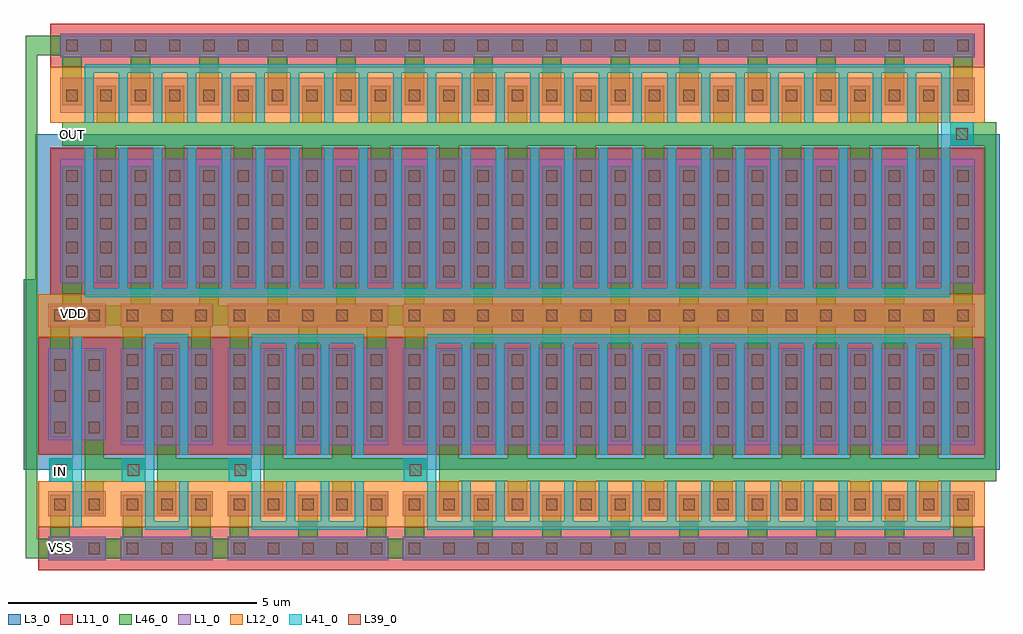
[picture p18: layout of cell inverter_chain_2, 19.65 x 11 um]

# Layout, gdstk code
import gdstk
lib = gdstk.Library(unit=1e-6, precision=1e-09)
def R(c, l, rs):  # rectangles x0, y0, x1, y1
    for r in rs: c.add(gdstk.rectangle(r[:2], r[2:], *l))
def A(c, l, x, y, w, h, nx, ny, dx, dy):  # array of equal rectangles
    R(c, l, [(x+i*dx, y+j*dy, x+i*dx+w, y+j*dy+h) for i in range(nx) for j in range(ny)])
L1_0 = (1, 0)
L3_0 = (3, 0)
L11_0 = (11, 0)
L12_0 = (12, 0)
L39_0 = (39, 0)
L41_0 = (41, 0)
L46_0 = (46, 0)

inverter_chain_2 = lib.new_cell('inverter_chain_2')
A(inverter_chain_2, L1_0, 4.425, 1.25, 1.85, 0.47, 8, 2, 1.38, 4.69)
A(inverter_chain_2, L1_0, 4.425, 2.14, 1.85, 0.5, 8, 1, 1.38, 0)
A(inverter_chain_2, L1_0, 4.425, 3.57, 1.85, 1.95, 8, 1, 1.38, 0)
A(inverter_chain_2, L1_0, -2.475, 6.83, 1.85, 2.5, 13, 1, 1.38, 0)
A(inverter_chain_2, L1_0, -2.475, 10.26, 1.85, 0.7, 13, 1, 1.38, 0)
A(inverter_chain_2, L1_0, -2.475, 11.38, 1.85, 0.47, 13, 1, 1.38, 0)
R(inverter_chain_2, L1_0, [(-2.715,1.25,-1.555,1.72), (-1.255,1.25,0.595,1.72), (0.895,1.25,2.745,1.72), (2.275,1.25,4.125,1.72), (-2.715,2.14,-1.555,2.64), (-1.255,2.14,0.595,2.64), (0.895,2.14,2.745,2.64), (2.275,2.14,4.125,2.64), (-1.255,3.57,0.595,5.52), (0.895,3.57,2.745,5.52), (2.275,3.57,4.125,5.52), (-2.715,3.67,-1.555,5.52), (-2.715,5.94,-1.555,6.41), (-1.255,5.94,0.595,6.41), (0.895,5.94,2.745,6.41), (2.275,5.94,4.125,6.41)])
A(inverter_chain_2, L3_0, 3.925, 3.07, 2.85, 3.84, 8, 1, 1.38, 0)
A(inverter_chain_2, L3_0, -2.975, 5.44, 2.85, 4.39, 13, 1, 1.38, 0)
R(inverter_chain_2, L3_0, [(-3.215,3.07,-1.055,6.91), (-1.755,3.07,1.095,6.91), (0.395,3.07,3.245,6.91), (1.775,3.07,4.625,6.91)])
A(inverter_chain_2, L11_0, 4.225, 1.05, 2.25, 0.87, 8, 1, 1.38, 0)
A(inverter_chain_2, L11_0, 4.225, 3.37, 2.25, 2.37, 8, 1, 1.38, 0)
A(inverter_chain_2, L11_0, -2.675, 6.61, 2.25, 2.94, 13, 1, 1.38, 0)
A(inverter_chain_2, L11_0, -2.675, 11.18, 2.25, 0.87, 13, 1, 1.38, 0)
R(inverter_chain_2, L11_0, [(-2.915,1.05,-1.355,1.92), (-1.455,1.05,0.795,1.92), (0.695,1.05,2.945,1.92), (2.075,1.05,4.325,1.92), (-2.915,3.37,-1.355,5.74), (-1.455,3.37,0.795,5.74), (0.695,3.37,2.945,5.74), (2.075,3.37,4.325,5.74)])
A(inverter_chain_2, L12_0, 4.225, 1.92, 2.25, 0.92, 8, 1, 1.38, 0)
A(inverter_chain_2, L12_0, 4.225, 5.74, 2.25, 0.87, 8, 1, 1.38, 0)
A(inverter_chain_2, L12_0, -2.675, 10.06, 2.25, 1.12, 13, 1, 1.38, 0)
R(inverter_chain_2, L12_0, [(-2.915,1.92,-1.355,2.84), (-1.455,1.92,0.795,2.84), (0.695,1.92,2.945,2.84), (2.075,1.92,4.325,2.84), (-2.915,5.74,-1.355,6.61), (-1.455,5.74,0.795,6.61), (0.695,5.74,2.945,6.61), (2.075,5.74,4.325,6.61)])
A(inverter_chain_2, L39_0, -1.135, 1.37, 0.23, 0.23, 3, 2, 0.69, 0.89)
A(inverter_chain_2, L39_0, 1.015, 1.37, 0.23, 0.23, 3, 2, 0.69, 0.89)
A(inverter_chain_2, L39_0, 2.395, 1.37, 0.23, 0.23, 3, 2, 0.69, 0.89)
A(inverter_chain_2, L39_0, 4.545, 1.37, 0.23, 0.23, 3, 2, 0.69, 0.89)
A(inverter_chain_2, L39_0, 5.925, 1.37, 0.23, 0.23, 3, 2, 0.69, 0.89)
A(inverter_chain_2, L39_0, 7.305, 1.37, 0.23, 0.23, 3, 2, 0.69, 0.89)
A(inverter_chain_2, L39_0, 8.685, 1.37, 0.23, 0.23, 3, 2, 0.69, 0.89)
A(inverter_chain_2, L39_0, 10.065, 1.37, 0.23, 0.23, 3, 2, 0.69, 0.89)
A(inverter_chain_2, L39_0, 11.445, 1.37, 0.23, 0.23, 3, 2, 0.69, 0.89)
A(inverter_chain_2, L39_0, 12.825, 1.37, 0.23, 0.23, 3, 2, 0.69, 0.89)
A(inverter_chain_2, L39_0, 14.205, 1.37, 0.23, 0.23, 3, 2, 0.69, 0.89)
A(inverter_chain_2, L39_0, -1.135, 3.73, 0.23, 0.23, 3, 4, 0.69, 0.48)
A(inverter_chain_2, L39_0, 1.015, 3.73, 0.23, 0.23, 3, 4, 0.69, 0.48)
A(inverter_chain_2, L39_0, 2.395, 3.73, 0.23, 0.23, 3, 4, 0.69, 0.48)
A(inverter_chain_2, L39_0, 4.545, 3.73, 0.23, 0.23, 3, 4, 0.69, 0.48)
A(inverter_chain_2, L39_0, 5.925, 3.73, 0.23, 0.23, 3, 4, 0.69, 0.48)
A(inverter_chain_2, L39_0, 7.305, 3.73, 0.23, 0.23, 3, 4, 0.69, 0.48)
A(inverter_chain_2, L39_0, 8.685, 3.73, 0.23, 0.23, 3, 4, 0.69, 0.48)
A(inverter_chain_2, L39_0, 10.065, 3.73, 0.23, 0.23, 3, 4, 0.69, 0.48)
A(inverter_chain_2, L39_0, 11.445, 3.73, 0.23, 0.23, 3, 4, 0.69, 0.48)
A(inverter_chain_2, L39_0, 12.825, 3.73, 0.23, 0.23, 3, 4, 0.69, 0.48)
A(inverter_chain_2, L39_0, 14.205, 3.73, 0.23, 0.23, 3, 4, 0.69, 0.48)
A(inverter_chain_2, L39_0, -2.595, 3.81, 0.23, 0.23, 1, 3, 0, 0.63)
A(inverter_chain_2, L39_0, -1.905, 3.81, 0.23, 0.23, 1, 3, 0, 0.63)
A(inverter_chain_2, L39_0, -1.135, 6.06, 0.23, 0.23, 3, 1, 0.69, 0)
A(inverter_chain_2, L39_0, 1.015, 6.06, 0.23, 0.23, 3, 1, 0.69, 0)
A(inverter_chain_2, L39_0, 2.395, 6.06, 0.23, 0.23, 3, 1, 0.69, 0)
A(inverter_chain_2, L39_0, 4.545, 6.06, 0.23, 0.23, 3, 2, 0.69, 0.89)
A(inverter_chain_2, L39_0, 5.925, 6.06, 0.23, 0.23, 3, 2, 0.69, 0.89)
A(inverter_chain_2, L39_0, 7.305, 6.06, 0.23, 0.23, 3, 2, 0.69, 0.89)
A(inverter_chain_2, L39_0, 8.685, 6.06, 0.23, 0.23, 3, 2, 0.69, 0.89)
A(inverter_chain_2, L39_0, 10.065, 6.06, 0.23, 0.23, 3, 2, 0.69, 0.89)
A(inverter_chain_2, L39_0, 11.445, 6.06, 0.23, 0.23, 3, 2, 0.69, 0.89)
A(inverter_chain_2, L39_0, 12.825, 6.06, 0.23, 0.23, 3, 2, 0.69, 0.89)
A(inverter_chain_2, L39_0, 14.205, 6.06, 0.23, 0.23, 3, 2, 0.69, 0.89)
A(inverter_chain_2, L39_0, -2.355, 6.95, 0.23, 0.23, 3, 5, 0.69, 0.48)
A(inverter_chain_2, L39_0, -0.975, 6.95, 0.23, 0.23, 3, 5, 0.69, 0.48)
A(inverter_chain_2, L39_0, 0.405, 6.95, 0.23, 0.23, 3, 5, 0.69, 0.48)
A(inverter_chain_2, L39_0, 1.785, 6.95, 0.23, 0.23, 3, 5, 0.69, 0.48)
A(inverter_chain_2, L39_0, 3.165, 6.95, 0.23, 0.23, 3, 5, 0.69, 0.48)
A(inverter_chain_2, L39_0, 4.545, 7.43, 0.23, 0.23, 3, 4, 0.69, 0.48)
A(inverter_chain_2, L39_0, 5.925, 7.43, 0.23, 0.23, 3, 4, 0.69, 0.48)
A(inverter_chain_2, L39_0, 7.305, 7.43, 0.23, 0.23, 3, 4, 0.69, 0.48)
A(inverter_chain_2, L39_0, 8.685, 7.43, 0.23, 0.23, 3, 4, 0.69, 0.48)
A(inverter_chain_2, L39_0, 10.065, 7.43, 0.23, 0.23, 3, 4, 0.69, 0.48)
A(inverter_chain_2, L39_0, 11.445, 7.43, 0.23, 0.23, 3, 4, 0.69, 0.48)
A(inverter_chain_2, L39_0, 12.825, 7.43, 0.23, 0.23, 3, 4, 0.69, 0.48)
A(inverter_chain_2, L39_0, 14.205, 7.43, 0.23, 0.23, 3, 4, 0.69, 0.48)
A(inverter_chain_2, L39_0, -2.355, 10.495, 0.23, 0.23, 3, 2, 0.69, 1.005)
A(inverter_chain_2, L39_0, -0.975, 10.495, 0.23, 0.23, 3, 2, 0.69, 1.005)
A(inverter_chain_2, L39_0, 0.405, 10.495, 0.23, 0.23, 3, 2, 0.69, 1.005)
A(inverter_chain_2, L39_0, 1.785, 10.495, 0.23, 0.23, 3, 2, 0.69, 1.005)
A(inverter_chain_2, L39_0, 3.165, 10.495, 0.23, 0.23, 3, 2, 0.69, 1.005)
A(inverter_chain_2, L39_0, 4.545, 10.495, 0.23, 0.23, 3, 2, 0.69, 1.005)
A(inverter_chain_2, L39_0, 5.925, 10.495, 0.23, 0.23, 3, 2, 0.69, 1.005)
A(inverter_chain_2, L39_0, 7.305, 10.495, 0.23, 0.23, 3, 2, 0.69, 1.005)
A(inverter_chain_2, L39_0, 8.685, 10.495, 0.23, 0.23, 3, 2, 0.69, 1.005)
A(inverter_chain_2, L39_0, 10.065, 10.495, 0.23, 0.23, 3, 2, 0.69, 1.005)
A(inverter_chain_2, L39_0, 11.445, 10.495, 0.23, 0.23, 3, 2, 0.69, 1.005)
A(inverter_chain_2, L39_0, 12.825, 10.495, 0.23, 0.23, 3, 2, 0.69, 1.005)
A(inverter_chain_2, L39_0, 14.205, 10.495, 0.23, 0.23, 3, 2, 0.69, 1.005)
R(inverter_chain_2, L39_0, [(-2.595,1.37,-2.365,1.6), (-1.905,1.37,-1.675,1.6), (-2.595,2.26,-2.365,2.49), (-1.905,2.26,-1.675,2.49), (-2.575,2.955,-2.345,3.185), (-1.115,2.955,-0.885,3.185), (1.035,2.955,1.265,3.185), (4.565,2.955,4.795,3.185), (-2.595,6.06,-2.365,6.29), (-1.905,6.06,-1.675,6.29), (15.565,9.715,15.795,9.945)])
A(inverter_chain_2, L41_0, 1.385, 1.86, 0.18, 0.98, 4, 1, 0.69, 0)
A(inverter_chain_2, L41_0, 4.915, 1.86, 0.18, 0.98, 16, 1, 0.69, 0)
A(inverter_chain_2, L41_0, 11.815, 1.86, 0.87, 0.18, 3, 2, 1.38, 3.76)
A(inverter_chain_2, L41_0, 2.075, 3.37, 0.18, 2.43, 3, 1, 0.69, 0)
A(inverter_chain_2, L41_0, 5.605, 3.37, 0.18, 2.43, 15, 1, 0.69, 0)
A(inverter_chain_2, L41_0, -1.985, 6.55, 0.18, 3, 25, 1, 0.69, 0)
A(inverter_chain_2, L41_0, -0.605, 6.55, 0.87, 0.18, 12, 2, 1.38, 4.51)
A(inverter_chain_2, L41_0, -1.985, 10.06, 0.18, 1.18, 25, 1, 0.69, 0)
R(inverter_chain_2, L41_0, [(-0.765,1.86,-0.585,2.84), (-0.765,1.86,0.105,2.04), (-0.075,1.86,0.105,2.84), (1.385,1.86,2.945,2.04), (2.765,1.86,3.635,2.04), (4.915,1.86,15.445,2.04), (-2.225,1.92,-2.045,2.84), (-2.225,1.92,-2.045,5.74), (-0.765,2.04,-0.585,5.8), (4.915,2.04,5.095,5.8), (1.385,2.34,1.565,5.8), (-2.695,2.835,-2.225,3.305), (-1.235,2.835,-0.765,3.305), (0.915,2.835,1.385,3.305), (4.445,2.835,4.915,3.305), (-0.075,3.37,0.105,5.8), (-0.765,5.62,0.105,5.8), (1.385,5.62,2.945,5.8), (2.765,5.62,3.635,5.8), (4.915,5.62,15.445,5.8), (-1.985,6.55,15.445,6.73), (15.265,6.55,15.445,11.24), (15.445,9.595,15.915,10.065), (-1.985,11.06,15.445,11.24)])
A(inverter_chain_2, L46_0, 4.465, 1.29, 1.77, 0.39, 8, 2, 1.38, 4.69)
A(inverter_chain_2, L46_0, 5.155, 2.18, 0.39, 3.3, 8, 1, 1.38, 0)
A(inverter_chain_2, L46_0, -1.745, 6.87, 0.39, 3.935, 13, 1, 1.38, 0)
A(inverter_chain_2, L46_0, -1.055, 11.42, 1.77, 0.39, 12, 1, 1.38, 0)
R(inverter_chain_2, L46_0, [(-3.165,1.29,-0.825,1.68), (-3.165,1.29,-2.935,11.81), (-2.675,1.29,-2.285,2.57), (-1.215,1.29,1.325,1.68), (-1.215,1.29,-0.825,2.57), (0.165,1.29,0.555,2.57), (0.935,1.29,1.325,2.57), (0.935,1.29,2.705,1.68), (2.315,1.29,4.855,1.68), (2.315,1.29,2.705,2.57), (2.315,1.29,2.705,2.57), (3.695,1.29,4.085,2.57), (4.465,1.29,4.855,2.57), (5.845,1.29,6.235,2.57), (5.845,1.29,6.235,2.57), (7.225,1.29,7.615,2.57), (7.225,1.29,7.615,2.57), (8.605,1.29,8.995,2.57), (8.605,1.29,8.995,2.57), (9.985,1.29,10.375,2.57), (9.985,1.29,10.375,2.57), (11.365,1.29,11.755,2.57), (11.365,1.29,11.755,2.57), (12.745,1.29,13.135,2.57), (12.745,1.29,13.135,2.57), (14.125,1.29,14.515,2.57), (14.125,1.29,14.515,2.57), (15.505,1.29,15.895,2.57), (-1.985,2.18,-1.595,5.48), (-0.525,2.18,-0.135,5.48), (1.625,2.18,2.015,5.48), (3.005,2.18,3.395,5.48), (-2.695,2.835,-2.225,3.305), (-1.985,2.835,-0.765,3.305), (-1.235,2.835,-0.765,3.305), (-0.525,2.835,1.385,3.305), (0.915,2.835,1.385,3.305), (1.625,2.835,4.915,3.305), (4.445,2.835,4.915,3.305), (5.155,2.84,16.365,3.305), (16.135,2.84,16.365,10.065), (-1.215,3.65,-0.825,6.37), (0.165,3.65,0.555,6.37), (0.935,3.65,1.325,6.37), (2.315,3.65,2.705,6.37), (2.315,3.65,2.705,6.37), (3.695,3.65,4.085,6.37), (4.465,3.65,4.855,6.37), (5.845,3.65,6.235,6.37), (5.845,3.65,6.235,6.37), (7.225,3.65,7.615,6.37), (7.225,3.65,7.615,6.37), (8.605,3.65,8.995,6.37), (8.605,3.65,8.995,6.37), (9.985,3.65,10.375,6.37), (9.985,3.65,10.375,6.37), (11.365,3.65,11.755,6.37), (11.365,3.65,11.755,6.37), (12.745,3.65,13.135,6.37), (12.745,3.65,13.135,6.37), (14.125,3.65,14.515,6.37), (14.125,3.65,14.515,6.37), (15.505,3.65,15.895,6.37), (-2.675,3.73,-2.285,6.37), (-2.675,5.98,4.87,6.37), (-2.435,5.98,-2.045,9.18), (-1.215,5.98,1.325,6.37), (-1.055,5.98,-0.665,9.18), (-1.055,5.98,-0.665,9.18), (0.325,5.98,0.715,9.18), (0.325,5.98,0.715,9.18), (0.935,5.98,2.705,6.37), (1.705,5.98,2.095,9.18), (1.705,5.98,2.095,9.18), (2.315,5.98,4.085,6.37), (3.085,5.98,3.475,9.18), (3.085,5.98,3.475,9.18), (4.465,5.98,4.855,9.18), (4.465,5.98,4.855,9.18), (5.845,5.98,6.235,9.18), (5.845,5.98,6.235,9.18), (7.225,5.98,7.615,9.18), (7.225,5.98,7.615,9.18), (8.605,5.98,8.995,9.18), (8.605,5.98,8.995,9.18), (9.985,5.98,10.375,9.18), (9.985,5.98,10.375,9.18), (11.365,5.98,11.755,9.18), (11.365,5.98,11.755,9.18), (12.745,5.98,13.135,9.18), (12.745,5.98,13.135,9.18), (14.125,5.98,14.515,9.18), (14.125,5.98,14.515,9.18), (15.505,5.98,15.895,9.18), (-2.435,9.595,15.205,10.065), (15.445,9.595,16.365,10.065), (-2.435,10.415,-2.045,11.81), (-1.055,10.415,-0.665,11.81), (-1.055,10.415,-0.665,11.81), (0.325,10.415,0.715,11.81), (0.325,10.415,0.715,11.81), (1.705,10.415,2.095,11.81), (1.705,10.415,2.095,11.81), (3.085,10.415,3.475,11.81), (3.085,10.415,3.475,11.81), (4.465,10.415,4.855,11.81), (4.465,10.415,4.855,11.81), (5.845,10.415,6.235,11.81), (5.845,10.415,6.235,11.81), (7.225,10.415,7.615,11.81), (7.225,10.415,7.615,11.81), (8.605,10.415,8.995,11.81), (8.605,10.415,8.995,11.81), (9.985,10.415,10.375,11.81), (9.985,10.415,10.375,11.81), (11.365,10.415,11.755,11.81), (11.365,10.415,11.755,11.81), (12.745,10.415,13.135,11.81), (12.745,10.415,13.135,11.81), (14.125,10.415,14.515,11.81), (14.125,10.415,14.515,11.81), (15.505,10.415,15.895,11.81), (-3.165,11.42,-0.665,11.81)])
inverter_chain_2.add(gdstk.Label('IN', (-2.48,3.04), layer=101, texttype=0))
inverter_chain_2.add(gdstk.Label('OUT', (-2.23,9.83), layer=101, texttype=0))
inverter_chain_2.add(gdstk.Label('VSS', (-2.48,1.505), layer=101, texttype=0))
inverter_chain_2.add(gdstk.Label('VDD', (-2.21,6.22), layer=101, texttype=0))

lib.write_gds('inverter_chain_2.gds')
